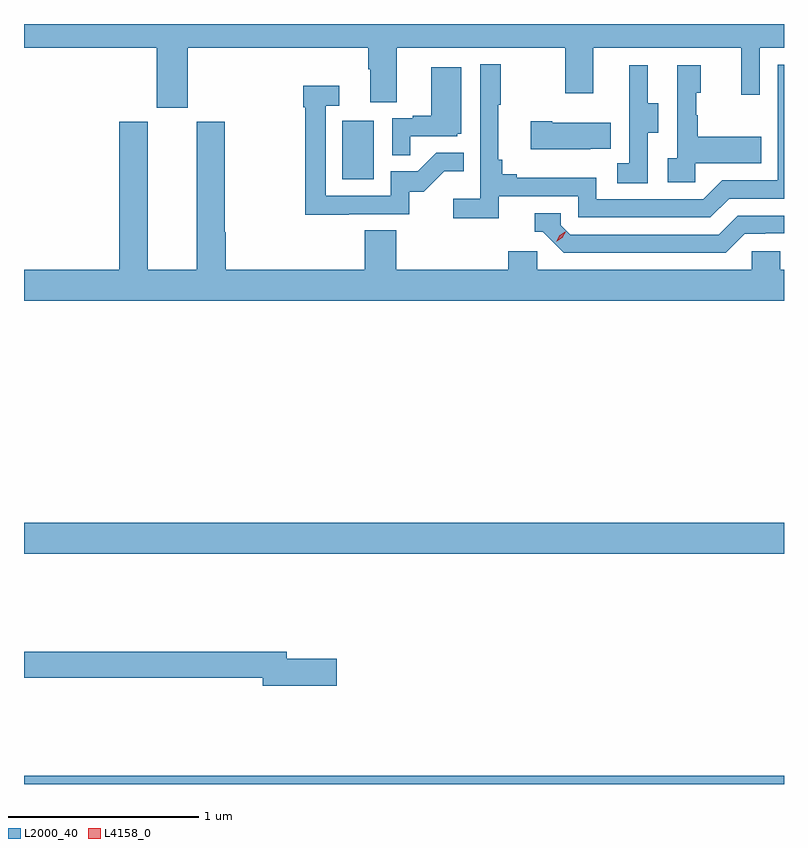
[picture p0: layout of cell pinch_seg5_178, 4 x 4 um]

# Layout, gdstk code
import gdstk
lib = gdstk.Library(unit=1e-6, precision=1e-09)
def R(c, l, rs):  # rectangles x0, y0, x1, y1
    for r in rs: c.add(gdstk.rectangle(r[:2], r[2:], *l))
def P(c, l, *ps):  # polygons
    for p in ps: c.add(gdstk.Polygon(p, *l))
L2000_40 = (2000, 40)
L4158_0 = (4158, 0)

pinch_seg5_178 = lib.new_cell('pinch_seg5_178')
R(pinch_seg5_178, L2000_40, [(1128.012,879.525,1132.012,879.568), (1128.012,880.736,1132.012,880.9), (1129.688,882.708,1129.852,883.015)])
P(pinch_seg5_178, L2000_40, [(1128.874,883.4),(1129.823,883.4),(1129.823,883.288),(1129.835,883.288),(1129.835,883.114),(1129.975,883.114),(1129.975,883.4),(1130.86,883.4),(1130.86,883.161),(1131.007,883.161),(1131.007,883.4),(1131.788,883.4),(1131.788,883.152),(1131.885,883.152),(1131.885,883.4),(1132.012,883.4),(1132.012,883.525),(1128.012,883.525),(1128.012,883.4),(1128.71,883.4),(1128.71,883.083),(1128.874,883.083)],
  [(1130.51,882.618),(1130.928,882.618),(1130.928,882.507),(1131.625,882.507),(1131.724,882.606),(1132.012,882.606),(1132.012,883.311),(1131.978,883.311),(1131.978,882.702),(1131.687,882.702),(1131.588,882.603),(1131.024,882.603),(1131.024,882.715),(1130.605,882.715),(1130.605,882.734),(1130.528,882.734),(1130.528,882.811),(1130.509,882.811),(1130.509,883.099),(1130.521,883.099),(1130.521,883.312),(1130.412,883.312),(1130.412,882.604),(1130.271,882.604),(1130.271,882.502),(1130.51,882.502)],
  [(1131.546,882.791),(1131.893,882.791),(1131.893,882.931),(1131.559,882.931),(1131.559,883.046),(1131.549,883.046),(1131.549,883.164),(1131.574,883.164),(1131.574,883.309),(1131.45,883.309),(1131.45,882.818),(1131.399,882.818),(1131.399,882.693),(1131.546,882.693)],
  [(1131.294,882.952),(1131.349,882.952),(1131.349,883.107),(1131.295,883.107),(1131.295,883.309),(1131.197,883.309),(1131.197,883.095),(1131.198,883.095),(1131.198,882.791),(1131.135,882.791),(1131.135,882.688),(1131.294,882.688)],
  [(1130.045,882.933),(1130.292,882.933),(1130.292,882.948),(1130.314,882.948),(1130.314,883.297),(1130.156,883.297),(1130.156,883.042),(1130.057,883.042),(1130.057,883.029),(1129.95,883.029),(1129.95,882.835),(1130.045,882.835)],
  [(1129.721,882.525),(1130.04,882.525),(1130.04,882.642),(1130.116,882.642),(1130.223,882.749),(1130.327,882.749),(1130.327,882.848),(1130.183,882.848),(1130.085,882.75),(1129.941,882.75),(1129.941,882.621),(1129.599,882.621),(1129.599,883.095),(1129.672,883.095),(1129.672,883.201),(1129.483,883.201),(1129.483,883.088),(1129.491,883.088),(1129.491,882.52),(1129.721,882.52)],
  [(1130.993,882.869),(1131.101,882.869),(1131.101,883.006),(1130.791,883.006),(1130.791,883.014),(1130.679,883.014),(1130.679,882.866),(1130.993,882.866)],
  [(1132.012,882.232),(1131.993,882.232),(1131.993,882.33),(1131.843,882.33),(1131.843,882.232),(1130.712,882.232),(1130.712,882.33),(1130.561,882.33),(1130.561,882.232),(1129.97,882.232),(1129.97,882.44),(1129.805,882.44),(1129.805,882.232),(1129.073,882.232),(1129.073,882.428),(1129.068,882.428),(1129.068,883.011),(1128.92,883.011),(1128.92,882.232),(1128.664,882.232),(1128.664,883.011),(1128.512,883.011),(1128.512,882.232),(1128.012,882.232),(1128.012,882.068),(1132.012,882.068)],
  [(1131.805,882.42),(1131.912,882.42),(1131.912,882.423),(1132.012,882.423),(1132.012,882.516),(1131.768,882.516),(1131.669,882.417),(1130.886,882.417),(1130.838,882.465),(1130.838,882.528),(1130.699,882.528),(1130.699,882.432),(1130.742,882.432),(1130.853,882.321),(1131.706,882.321)],
  [(1129.657,880.184),(1129.396,880.184),(1129.396,880.22),(1128.012,880.22),(1128.012,880.084),(1129.268,880.084),(1129.268,880.042),(1129.657,880.042)])
P(pinch_seg5_178, L4158_0, [(1130.814,882.38),(1130.814,882.38),(1130.831,882.412),(1130.861,882.431),(1130.862,882.431),(1130.862,882.431),(1130.845,882.399),(1130.814,882.38)])

lib.write_gds('pinch_seg5_178.gds')
